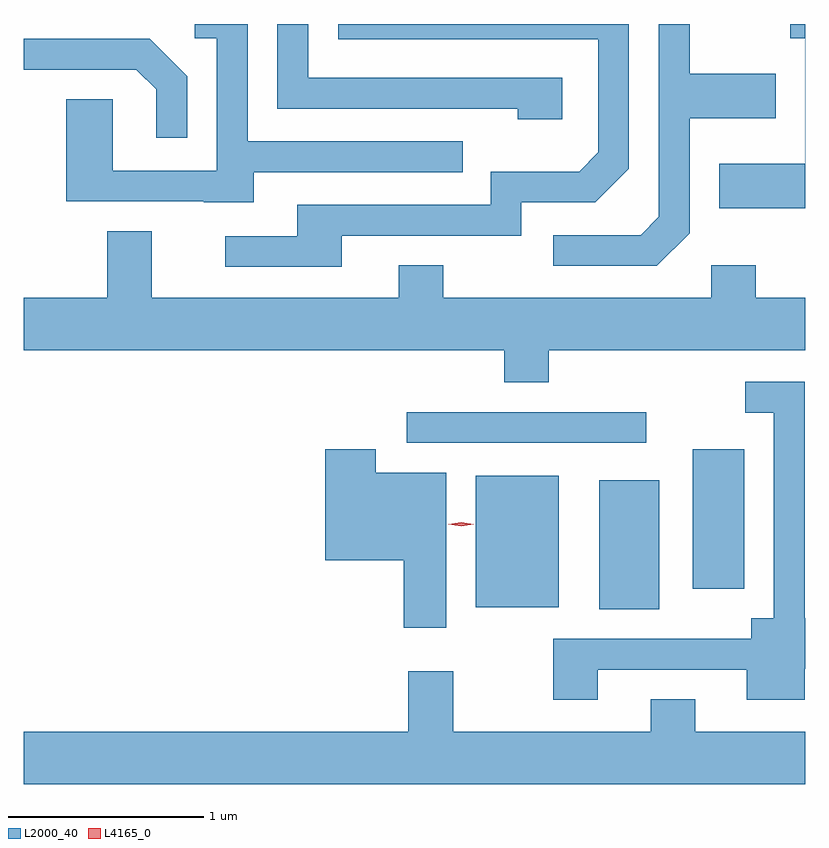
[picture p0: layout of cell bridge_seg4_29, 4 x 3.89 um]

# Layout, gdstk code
import gdstk
lib = gdstk.Library(unit=1e-6, precision=1e-09)
def R(c, l, rs):  # rectangles x0, y0, x1, y1
    for r in rs: c.add(gdstk.rectangle(r[:2], r[2:], *l))
def P(c, l, *ps):  # polygons
    for p in ps: c.add(gdstk.Polygon(p, *l))
L2000_40 = (2000, 40)
L4165_0 = (4165, 0)

bridge_seg4_29 = lib.new_cell('bridge_seg4_29')
R(bridge_seg4_29, L2000_40, [(1206.416,1306.731,1206.724,1307.389), (1205.786,1306.741,1206.209,1307.414), (1206.896,1306.836,1207.159,1307.549), (1205.433,1307.581,1206.658,1307.739)])
P(bridge_seg4_29, L2000_40, [(1205.099,1308.641),(1206.019,1308.641),(1206.019,1308.811),(1206.397,1308.811),(1206.569,1308.984),(1206.569,1309.724),(1205.081,1309.724),(1205.081,1309.646),(1206.411,1309.646),(1206.411,1309.067),(1206.314,1308.969),(1205.861,1308.969),(1205.861,1308.799),(1204.871,1308.799),(1204.871,1308.639),(1204.503,1308.639),(1204.503,1308.481),(1205.099,1308.481)],
  [(1207.472,1309.724),(1207.393,1309.724),(1207.393,1309.651),(1207.471,1309.651),(1207.471,1309.009),(1207.031,1309.009),(1207.031,1308.781),(1207.472,1308.781)],
  [(1206.879,1308.654),(1206.879,1309.241),(1207.319,1309.241),(1207.319,1309.469),(1206.879,1309.469),(1206.879,1309.724),(1206.721,1309.724),(1206.721,1308.737),(1206.629,1308.644),(1206.183,1308.644),(1206.183,1308.486),(1206.712,1308.486)],
  [(1206.229,1309.449),(1204.929,1309.449),(1204.929,1309.724),(1204.771,1309.724),(1204.771,1309.291),(1206.001,1309.291),(1206.001,1309.236),(1206.229,1309.236)],
  [(1204.649,1308.966),(1205.718,1308.966),(1205.718,1309.124),(1204.619,1309.124),(1204.619,1309.724),(1204.348,1309.724),(1204.348,1309.651),(1204.461,1309.651),(1204.461,1308.974),(1203.929,1308.974),(1203.929,1309.339),(1203.691,1309.339),(1203.691,1308.816),(1204.395,1308.816),(1204.395,1308.811),(1204.649,1308.811)],
  [(1204.309,1309.457),(1204.117,1309.649),(1203.472,1309.649),(1203.472,1309.491),(1204.049,1309.491),(1204.151,1309.389),(1204.151,1309.143),(1204.309,1309.143)],
  [(1206.159,1308.056),(1207.472,1308.056),(1207.472,1308.324),(1207.219,1308.324),(1207.219,1308.489),(1206.991,1308.489),(1206.991,1308.324),(1205.619,1308.324),(1205.619,1308.489),(1205.391,1308.489),(1205.391,1308.324),(1204.129,1308.324),(1204.129,1308.664),(1203.901,1308.664),(1203.901,1308.324),(1203.472,1308.324),(1203.472,1308.056),(1205.931,1308.056),(1205.931,1307.891),(1206.159,1307.891)],
  [(1206.409,1306.421),(1207.171,1306.421),(1207.171,1306.266),(1207.469,1306.266),(1207.469,1306.426),(1207.472,1306.426),(1207.472,1306.684),(1207.469,1306.684),(1207.469,1307.894),(1207.163,1307.894),(1207.163,1307.736),(1207.311,1307.736),(1207.311,1306.684),(1207.196,1306.684),(1207.196,1306.579),(1206.181,1306.579),(1206.181,1306.266),(1206.409,1306.266)],
  [(1205.634,1307.429),(1205.274,1307.429),(1205.274,1307.549),(1205.016,1307.549),(1205.016,1306.981),(1205.416,1306.981),(1205.416,1306.636),(1205.634,1306.636)],
  [(1207.472,1306.104),(1206.909,1306.104),(1206.909,1306.269),(1206.681,1306.269),(1206.681,1306.104),(1205.669,1306.104),(1205.669,1306.414),(1205.441,1306.414),(1205.441,1306.104),(1203.472,1306.104),(1203.472,1305.836),(1207.472,1305.836)])
P(bridge_seg4_29, L4165_0, [(1205.71,1307.154),(1205.644,1307.164),(1205.643,1307.164),(1205.644,1307.165),(1205.71,1307.174),(1205.776,1307.165),(1205.776,1307.164),(1205.776,1307.164)])

lib.write_gds('bridge_seg4_29.gds')
